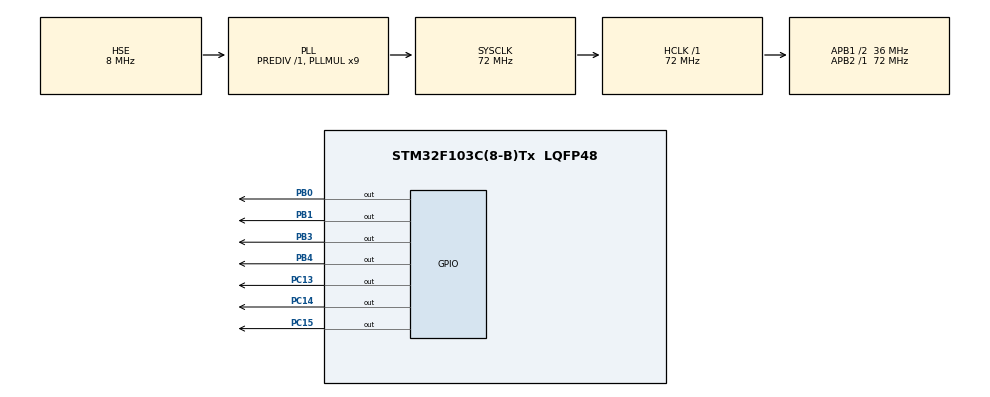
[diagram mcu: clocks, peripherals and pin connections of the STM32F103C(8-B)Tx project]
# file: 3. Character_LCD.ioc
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Mcu.Family=STM32F1
Mcu.Name=STM32F103C(8-B)Tx
Mcu.Package=LQFP48
NVIC.PriorityGroup=NVIC_PRIORITYGROUP_4
PA13.Mode=Serial_Wire
PA13.Signal=SYS_JTMS-SWDIO
PA14.Mode=Serial_Wire
PA14.Signal=SYS_JTCK-SWCLK
PB0.Signal=GPIO_Output
PB1.Signal=GPIO_Output
PB3.Signal=GPIO_Output
PB4.Signal=GPIO_Output
PC13-TAMPER-RTC.Signal=GPIO_Output
PC14-OSC32_IN.Signal=GPIO_Output
PC15-OSC32_OUT.Signal=GPIO_Output
PD0-OSC_IN.Mode=HSE-External-Oscillator
PD0-OSC_IN.Signal=RCC_OSC_IN
PD1-OSC_OUT.Mode=HSE-External-Oscillator
PD1-OSC_OUT.Signal=RCC_OSC_OUT
ProjectManager.HeapSize=0x200
ProjectManager.StackSize=0x400
ProjectManager.TargetToolchain=STM32CubeIDE
RCC.AHBFreq_Value=72000000
RCC.APB1CLKDivider=RCC_HCLK_DIV2
RCC.APB1Freq_Value=36000000
RCC.APB1TimFreq_Value=72000000
RCC.APB2Freq_Value=72000000
RCC.APB2TimFreq_Value=72000000
RCC.HCLKFreq_Value=72000000
RCC.PLLMUL=RCC_PLL_MUL9
RCC.PLLSourceVirtual=RCC_PLLSOURCE_HSE
RCC.SYSCLKFreq_VALUE=72000000
RCC.SYSCLKSource=RCC_SYSCLKSOURCE_PLLCLK
RCC.USBFreq_Value=72000000
board=custom

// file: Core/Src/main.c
/* USER CODE BEGIN Header */
/**
  ******************************************************************************
  * @file           : main.c
  * @brief          : Main program body
  ******************************************************************************
  * @attention
  *
  * Copyright (c) 2022 STMicroelectronics.
  * All rights reserved.
  *
  * This software is licensed under terms that can be found in the LICENSE file
  * in the root directory of this software component.
  * If no LICENSE file comes with this software, it is provided AS-IS.
  *
  ******************************************************************************
  */
/* USER CODE END Header */
#include "main.h"
#include "gpio.h"

/* USER CODE BEGIN Includes */
#include <stdio.h>
#include "Character_LCD.h"
/* USER CODE END Includes */

void SystemClock_Config(void);

int main(void)
{

  /* MCU Configuration--------------------------------------------------------*/

  /* Reset of all peripherals, Initializes the Flash interface and the Systick. */
  HAL_Init();

  /* Configure the system clock */
  SystemClock_Config();

  /* Initialize all configured peripherals */
  MX_GPIO_Init();
  /* USER CODE BEGIN 2 */

  	CLCD_Init();
  	char str[] = "Hello World!!";
//  	char str[] = { 0xc0, 0xc1, 0xc2, 0xc3, 0xc4, 0xe0, 0xf0, 0xf1, 'f', 'F', 'e', 'E', 'i', 'I', 'j', 'J', 'y', 'Y' };
  	CLCD_Write(CLCD_ADDR_SET, 0, 0, str);
  	CLCD_Write(CLCD_ADDR_SET, 1, 0, str);
  	HAL_Delay(3000);
  	CLCD_Write(CLCD_ADDR_SET, 0, 0, "Hawawa Hoee..");
  	HAL_Delay(1000);

  	uint16_t cnt = 0;
  	char str1[16];
  /* USER CODE END 2 */

  /* Infinite loop */
  /* USER CODE BEGIN WHILE */

  	CLCD_Clear_Display();

  while (1)
  {
	  HAL_Delay(1000);
	  sprintf(str1, "cnt = %d", cnt);
	  CLCD_Write(CLCD_ADDR_SET, 1, 0, str1);
	  cnt++;
	  HAL_Delay(1000);
	  CLCD_Return_Home();
    /* USER CODE END WHILE */

  }
}

void SystemClock_Config(void)
{
  RCC_OscInitTypeDef RCC_OscInitStruct = {0};
  RCC_ClkInitTypeDef RCC_ClkInitStruct = {0};

  /** Initializes the RCC Oscillators according to the specified parameters
  * in the RCC_OscInitTypeDef structure.
  */
  RCC_OscInitStruct.OscillatorType = RCC_OSCILLATORTYPE_HSE;
  RCC_OscInitStruct.HSEState = RCC_HSE_ON;
  RCC_OscInitStruct.HSEPredivValue = RCC_HSE_PREDIV_DIV1;
  RCC_OscInitStruct.HSIState = RCC_HSI_ON;
  RCC_OscInitStruct.PLL.PLLState = RCC_PLL_ON;
  RCC_OscInitStruct.PLL.PLLSource = RCC_PLLSOURCE_HSE;
  RCC_OscInitStruct.PLL.PLLMUL = RCC_PLL_MUL9;
  if (HAL_RCC_OscConfig(&RCC_OscInitStruct) != HAL_OK)
  {
    Error_Handler();
  }

  /** Initializes the CPU, AHB and APB buses clocks
  */
  RCC_ClkInitStruct.ClockType = RCC_CLOCKTYPE_HCLK|RCC_CLOCKTYPE_SYSCLK
                              |RCC_CLOCKTYPE_PCLK1|RCC_CLOCKTYPE_PCLK2;
  RCC_ClkInitStruct.SYSCLKSource = RCC_SYSCLKSOURCE_PLLCLK;
  RCC_ClkInitStruct.AHBCLKDivider = RCC_SYSCLK_DIV1;
  RCC_ClkInitStruct.APB1CLKDivider = RCC_HCLK_DIV2;
  RCC_ClkInitStruct.APB2CLKDivider = RCC_HCLK_DIV1;

  if (HAL_RCC_ClockConfig(&RCC_ClkInitStruct, FLASH_LATENCY_2) != HAL_OK)
  {
    Error_Handler();
  }
}

void Error_Handler(void)
{
  __disable_irq();
  while (1)
  {
  }
}
